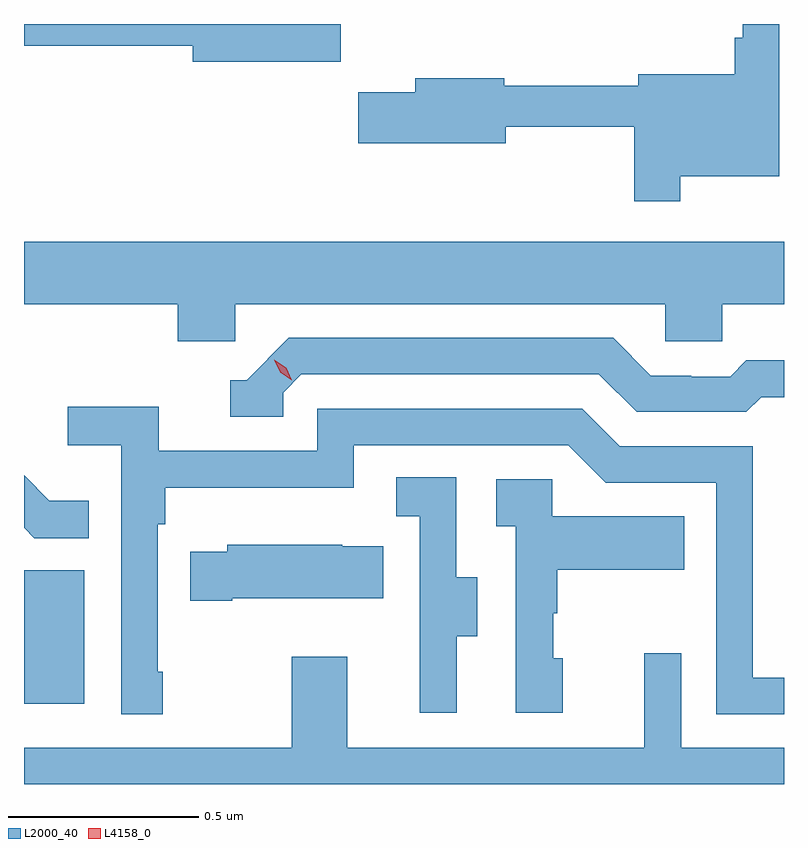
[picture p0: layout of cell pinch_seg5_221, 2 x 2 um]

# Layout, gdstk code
import gdstk
lib = gdstk.Library(unit=1e-6, precision=1e-09)
def R(c, l, rs):  # rectangles x0, y0, x1, y1
    for r in rs: c.add(gdstk.rectangle(r[:2], r[2:], *l))
def P(c, l, *ps):  # polygons
    for p in ps: c.add(gdstk.Polygon(p, *l))
L2000_40 = (2000, 40)
L4158_0 = (4158, 0)

pinch_seg5_221 = lib.new_cell('pinch_seg5_221')
R(pinch_seg5_221, L2000_40, [(981.194,894.336,981.352,894.687)])
P(pinch_seg5_221, L2000_40, [(982.027,896.125),(981.194,896.125),(981.194,896.068),(981.638,896.068),(981.638,896.026),(982.027,896.026)],
  [(982.921,895.724),(983.182,895.724),(983.182,896.125),(983.085,896.125),(983.085,896.089),(983.065,896.089),(983.065,895.993),(982.811,895.993),(982.811,895.963),(982.458,895.963),(982.458,895.982),(982.223,895.982),(982.223,895.946),(982.074,895.946),(982.074,895.811),(982.462,895.811),(982.462,895.854),(982.8,895.854),(982.8,895.659),(982.921,895.659)],
  [(981.75,895.388),(982.881,895.388),(982.881,895.29),(983.031,895.29),(983.031,895.388),(983.194,895.388),(983.194,895.552),(981.194,895.552),(981.194,895.388),(981.599,895.388),(981.599,895.29),(981.75,895.29)],
  [(981.876,895.155),(981.924,895.203),(982.707,895.203),(982.806,895.104),(983.095,895.104),(983.134,895.143),(983.194,895.143),(983.194,895.24),(983.095,895.24),(983.053,895.197),(982.95,895.197),(982.95,895.2),(982.843,895.2),(982.744,895.299),(981.891,895.299),(981.78,895.188),(981.737,895.188),(981.737,895.092),(981.876,895.092)],
  [(981.559,894.421),(981.546,894.421),(981.546,894.809),(981.566,894.809),(981.566,894.905),(982.062,894.905),(982.062,895.017),(982.626,895.017),(982.725,894.918),(983.016,894.918),(983.016,894.309),(983.194,894.309),(983.194,894.405),(983.112,894.405),(983.112,895.014),(982.762,895.014),(982.663,895.113),(981.966,895.113),(981.966,895.002),(981.548,895.002),(981.548,895.118),(981.309,895.118),(981.309,895.016),(981.45,895.016),(981.45,894.309),(981.559,894.309)],
  [(981.365,894.871),(981.261,894.871),(981.194,894.938),(981.194,894.799),(981.221,894.772),(981.365,894.772)],
  [(982.333,894.514),(982.387,894.514),(982.387,894.669),(982.332,894.669),(982.332,894.932),(982.173,894.932),(982.173,894.829),(982.236,894.829),(982.236,894.525),(982.235,894.525),(982.235,894.312),(982.333,894.312)],
  [(982.612,894.456),(982.587,894.456),(982.587,894.575),(982.597,894.575),(982.597,894.689),(982.931,894.689),(982.931,894.829),(982.584,894.829),(982.584,894.927),(982.437,894.927),(982.437,894.803),(982.488,894.803),(982.488,894.312),(982.612,894.312)],
  [(981.742,894.614),(982.139,894.614),(982.139,894.751),(982.031,894.751),(982.031,894.754),(981.729,894.754),(981.729,894.736),(981.631,894.736),(981.631,894.607),(981.742,894.607)],
  [(981.898,894.46),(981.898,894.22),(981.194,894.22),(981.194,894.125),(983.194,894.125),(983.194,894.22),(982.923,894.22),(982.923,894.469),(982.826,894.469),(982.826,894.22),(982.045,894.22),(982.045,894.46)])
P(pinch_seg5_221, L4158_0, [(981.899,895.188),(981.868,895.208),(981.853,895.241),(981.853,895.241),(981.853,895.241),(981.884,895.221),(981.899,895.188),(981.899,895.188)])

lib.write_gds('pinch_seg5_221.gds')
